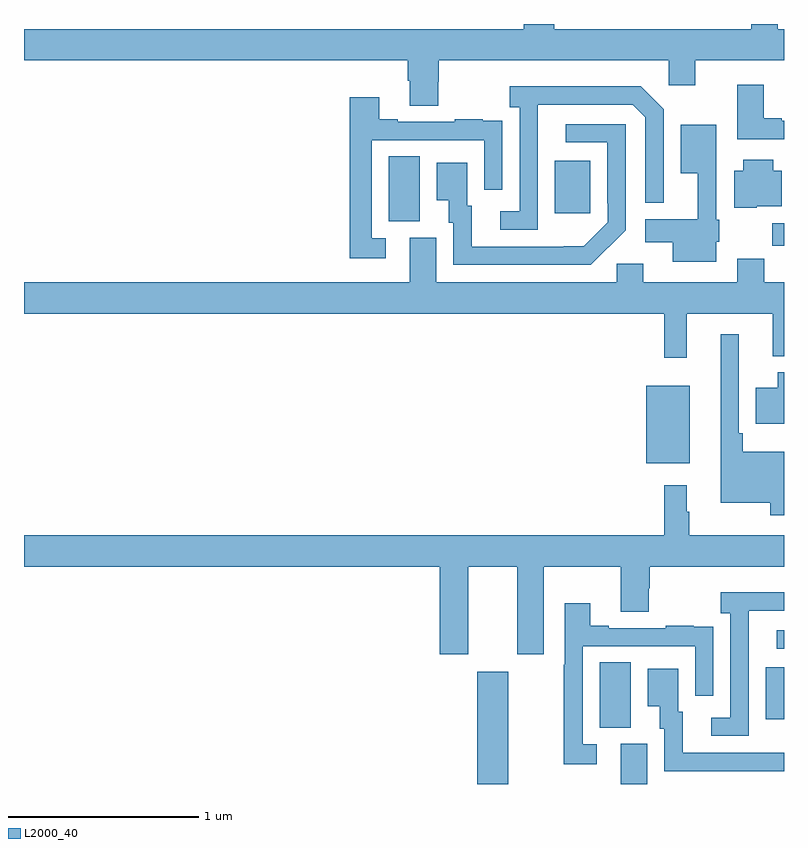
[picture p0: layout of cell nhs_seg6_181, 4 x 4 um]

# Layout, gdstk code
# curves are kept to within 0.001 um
import gdstk
lib = gdstk.Library(unit=1e-6, precision=1e-09)
def R(c, l, rs):  # rectangles x0, y0, x1, y1
    for r in rs: c.add(gdstk.rectangle(r[:2], r[2:], *l))
def P(c, l, *ps):  # polygons
    for p in ps: c.add(gdstk.Polygon(p, *l))
L2000_40 = (2000, 40)

nhs_seg6_181 = lib.new_cell('nhs_seg6_181')
R(nhs_seg6_181, L2000_40, [(121.385,971.5,121.549,972.091), (122.141,971.5,122.281,971.712), (122.03,971.797,122.194,972.14), (122.903,971.841,123,972.115), (122.961,972.213,123,972.309), (122.276,973.187,122.503,973.597), (122.938,974.334,123,974.452), (120.92,974.461,121.084,974.804), (121.793,974.505,121.981,974.779)])
P(nhs_seg6_181, L2000_40, [(121.179,975.195),(121.184,975.195),(121.184,975.308),(122.394,975.308),(122.394,975.177),(122.533,975.177),(122.533,975.308),(123,975.308),(123,975.472),(122.968,975.472),(122.968,975.5),(122.828,975.5),(122.828,975.472),(121.791,975.472),(121.791,975.5),(121.631,975.5),(121.631,975.472),(119,975.472),(119,975.308),(121.019,975.308),(121.019,975.202),(121.031,975.202),(121.031,975.07),(121.179,975.07)],
  [(123,974.991),(122.989,974.991),(122.989,975.004),(122.893,975.004),(122.893,975.181),(122.753,975.181),(122.753,974.894),(123,974.894)],
  [(121.704,974.875),(121.705,975.075),(122.205,975.075),(122.271,975.009),(122.271,974.558),(122.367,974.558),(122.367,975.051),(122.246,975.172),(121.557,975.172),(121.557,975.062),(121.608,975.062),(121.608,974.514),(121.506,974.514),(121.506,974.418),(121.704,974.418)],
  [(120.904,974.373),(120.831,974.373),(120.831,974.889),(121.422,974.889),(121.422,974.628),(121.518,974.628),(121.518,974.882),(121.517,974.882),(121.517,974.991),(121.415,974.991),(121.415,974.998),(121.267,974.998),(121.267,974.985),(120.967,974.985),(120.967,974.998),(120.871,974.998),(120.871,975.115),(120.715,975.115),(120.715,974.268),(120.904,974.268)],
  [(122.166,974.414),(122.166,974.973),(121.851,974.973),(121.851,974.877),(122.07,974.877),(122.07,974.557),(122.073,974.557),(122.073,974.457),(121.945,974.329),(121.357,974.328),(121.357,974.544),(121.333,974.544),(121.333,974.77),(121.172,974.77),(121.172,974.573),(121.235,974.573),(121.235,974.454),(121.26,974.454),(121.26,974.232),(121.984,974.232)],
  [(122.644,974.355),(122.659,974.355),(122.659,974.469),(122.643,974.469),(122.643,974.971),(122.456,974.971),(122.456,974.714),(122.546,974.714),(122.546,974.473),(122.271,974.473),(122.271,974.351),(122.414,974.351),(122.414,974.249),(122.644,974.249)],
  [(122.856,974.54),(122.989,974.54),(122.989,974.728),(122.944,974.728),(122.944,974.785),(122.786,974.785),(122.786,974.728),(122.738,974.728),(122.738,974.534),(122.856,974.534)],
  [(122.489,973.976),(122.942,973.976),(122.942,973.751),(123,973.751),(123,974.14),(122.897,974.14),(122.897,974.264),(122.753,974.264),(122.753,974.14),(122.26,974.14),(122.26,974.238),(122.121,974.238),(122.121,974.14),(121.171,974.14),(121.171,974.376),(121.031,974.376),(121.031,974.14),(119,974.14),(119,973.976),(122.371,973.976),(122.371,973.743),(122.489,973.743)],
  [(123,973.249),(122.783,973.249),(122.783,973.345),(122.763,973.345),(122.763,973.867),(122.666,973.867),(122.666,972.98),(122.928,972.98),(122.928,972.915),(123,972.915)],
  [(123,973.666),(122.966,973.666),(122.966,973.585),(122.852,973.585),(122.852,973.397),(123,973.397)],
  [(121.339,972.644),(121.595,972.644),(121.595,972.183),(121.735,972.183),(121.735,972.644),(122.141,972.644),(122.141,972.406),(122.289,972.406),(122.289,972.531),(122.294,972.531),(122.294,972.644),(123,972.644),(123,972.808),(122.5,972.808),(122.5,972.932),(122.488,972.932),(122.488,973.072),(122.371,973.072),(122.371,972.808),(119,972.808),(119,972.644),(121.187,972.644),(121.187,972.183),(121.339,972.183)],
  [(122.814,972.211),(122.815,972.211),(122.815,972.411),(123,972.411),(123,972.508),(122.667,972.508),(122.667,972.398),(122.718,972.398),(122.718,971.85),(122.616,971.85),(122.616,971.754),(122.814,971.754)],
  [(122.014,971.709),(121.941,971.709),(121.941,972.225),(122.532,972.225),(122.532,971.964),(122.628,971.964),(122.628,972.218),(122.627,972.218),(122.627,972.327),(122.525,972.327),(122.525,972.334),(122.377,972.334),(122.377,972.321),(122.077,972.321),(122.077,972.334),(121.981,972.334),(121.981,972.451),(121.845,972.451),(121.845,972.128),(121.84,972.128),(121.84,971.604),(122.014,971.604)],
  [(123,971.665),(122.951,971.665),(122.951,971.664),(122.467,971.664),(122.467,971.88),(122.443,971.88),(122.443,972.106),(122.282,972.106),(122.282,971.909),(122.345,971.909),(122.345,971.79),(122.37,971.79),(122.37,971.568),(123,971.568)])

lib.write_gds('nhs_seg6_181.gds')
